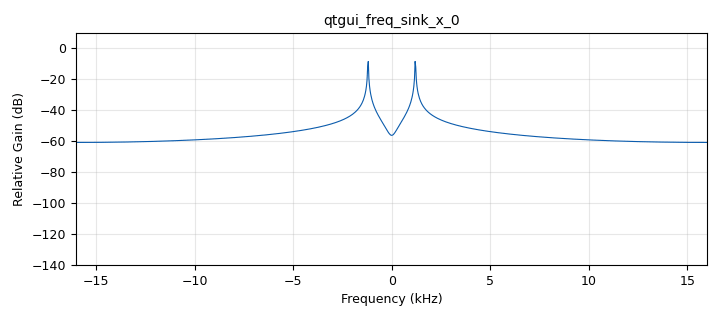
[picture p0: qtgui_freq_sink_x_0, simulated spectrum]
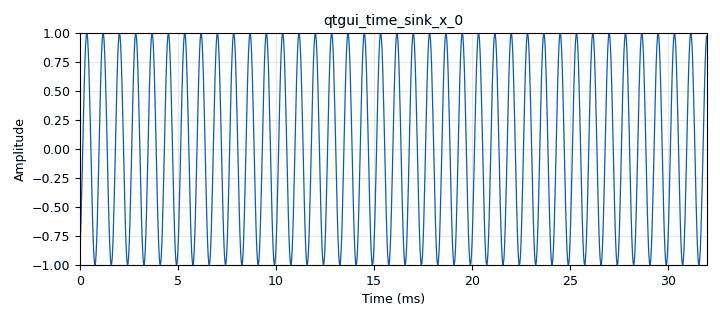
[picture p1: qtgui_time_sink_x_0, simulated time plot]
options:
  parameters:
    generate_options: qt_gui
    id: Que_1
    output_language: python
    title: Que-1
  states: {}

blocks:
- name: Freq
  id: variable_qtgui_range
  parameters:
    label: Freq
    start: '0'
    step: '100'
    stop: samp_rate
    value: '1200'
  states: {}
- name: samp_rate
  id: variable
  parameters:
    value: '32000'
  states: {}
- name: analog_sig_source_x_0
  id: analog_sig_source_x
  parameters:
    amp: '1'
    freq: Freq
    offset: '0'
    phase: '0'
    samp_rate: samp_rate
    type: float
    waveform: analog.GR_COS_WAVE
  states: {}
- name: blocks_throttle2_0
  id: blocks_throttle2
  parameters:
    samples_per_second: samp_rate
    type: float
  states: {}
- name: qtgui_freq_sink_x_0
  id: qtgui_freq_sink_x
  parameters:
    bw: samp_rate
    fc: '0'
    fftsize: '1024'
    type: float
    wintype: window.WIN_RECTANGULAR
  states: {}
- name: qtgui_time_sink_x_0
  id: qtgui_time_sink_x
  parameters:
    size: '1024'
    srate: samp_rate
    type: float
  states: {}

connections:
- [analog_sig_source_x_0, '0', blocks_throttle2_0, '0']
- [blocks_throttle2_0, '0', qtgui_freq_sink_x_0, '0']
- [blocks_throttle2_0, '0', qtgui_time_sink_x_0, '0']

metadata:
  file_format: 1
  grc_version: 3.10.10.0
